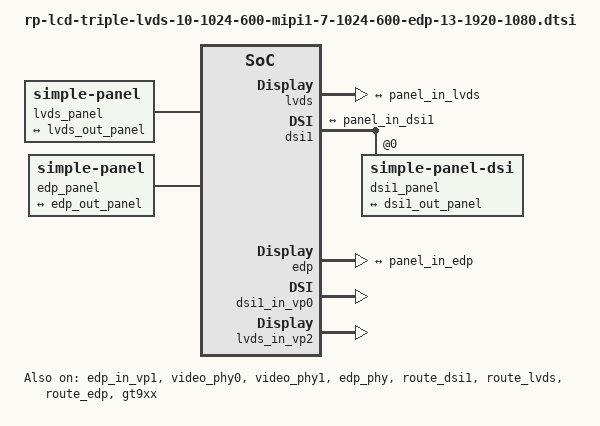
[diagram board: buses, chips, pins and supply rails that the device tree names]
#include <dt-bindings/display/media-bus-format.h>

#define RP_TRIPLE_LCD




&lvds_panel {
	status = "okay";
	compatible = "simple-panel";
	enable-delay-ms = <20>;
	prepare-delay-ms = <20>;
	unprepare-delay-ms = <20>;
	disable-delay-ms = <20>;
	bus-format = <MEDIA_BUS_FMT_RGB888_1X7X4_JEIDA>;
	width-mm = <217>;
	height-mm = <136>;
	
		/**
		 * power-supply = <>;
		 * reset-gpios = <>;
		 *
		 * lcd reset pin and power supply
		 * please refer to ***-lcd-gpio.dtsi
		 * that included in main dts.
		 */
		 
	display-timings {
		native-mode = <&timing2>;

		timing2: timing2 {
			clock-frequency = <45000000>;
			hactive = <1024>;
			vactive = <600>;
			hback-porch = <160>;
			hfront-porch = <160>;
			vback-porch = <23>;
			vfront-porch = <12>;
			hsync-len = <20>;
			vsync-len = <3>;
			hsync-active = <0>;
			vsync-active = <0>;
			de-active = <0>;
			pixelclk-active = <0>;
		};
	};

	ports {
		#address-cells = <1>;
		#size-cells = <0>;

		port@0 {
			reg = <0>;
			dual-lvds-even-pixels;
			panel_in_lvds: endpoint {
				remote-endpoint = <&lvds_out_panel>;
			};
		};
	};
};


&lvds {
	status = "okay";

	ports {
		port@1 {
			reg = <1>;

			lvds_out_panel: endpoint {
				remote-endpoint = <&panel_in_lvds>;
			};
		};
	};
};


&dsi1 {
	status = "okay";
	//rockchip,lane-rate = <480>;
	dsi1_panel: panel@0 {
		status = "okay";
		compatible = "simple-panel-dsi";
		reg = <0>;
		reset-delay-ms = <60>;
		enable-delay-ms = <60>;
		prepare-delay-ms = <60>;
		unprepare-delay-ms = <60>;
		disable-delay-ms = <60>;
		dsi,flags = <(MIPI_DSI_MODE_VIDEO | MIPI_DSI_MODE_VIDEO_BURST |
			MIPI_DSI_MODE_LPM | MIPI_DSI_MODE_EOT_PACKET)>;
		dsi,format = <MIPI_DSI_FMT_RGB888>;
		dsi,lanes  = <4>;
		
		/**
		 * power-supply = <>;
		 * reset-gpios = <>;
		 *
		 * lcd reset pin and power supply
		 * please refer to ***-lcd-gpio.dtsi
		 * that included in main dts.
		 */
				
		panel-init-sequence = [
			05 78 01 11
			05 78 01 29
		];
		
		panel-exit-sequence = [
			05 00 01 28
			05 78 01 10
		];

		disp_timings1: display-timings {
			native-mode = <&dsi1_timing0>;
			dsi1_timing0: timing0 {
				clock-frequency = <45000000>;
				hactive = <1024>;
				vactive = <600>;
				hback-porch = <160>;
				hfront-porch = <136>;
				vback-porch = <16>;
				vfront-porch = <16>;
				hsync-len = <4>;
				vsync-len = <2>;
				hsync-active = <0>;
				vsync-active = <0>;
				de-active = <0>;
				pixelclk-active = <1>;
			};
		};

		ports {
			#address-cells = <1>;
			#size-cells = <0>;

			port@0 {
				reg = <0>;
				panel_in_dsi1: endpoint {
					remote-endpoint = <&dsi1_out_panel>;
				};
			};
		};
	};

	ports {
		#address-cells = <1>;
		#size-cells = <0>;

		port@1 {
			reg = <1>;
			dsi1_out_panel: endpoint {
				remote-endpoint = <&panel_in_dsi1>;
			};
		};
	};
};




&edp_panel {
	status = "okay";
        compatible = "simple-panel";
        prepare-delay-ms = <20>;
        enable-delay-ms = <20>;
	disable-delay-ms = <20>;
	unprepare-delay-ms = <20>;
		
		/**
		 * power-supply = <>;
		 * reset-gpios = <>;
		 *
		 * lcd reset pin and power supply
		 * please refer to ***-lcd-gpio.dtsi
		 * that included in main dts.
		 */
		
        display-timings {
                native-mode = <&timing1>;

                timing0: timing0 {//EDP 13.3
                        clock-frequency = <150000000>;
                        hactive = <1920>;
                        vactive = <1080>;
                        hfront-porch = <12>;
                        hsync-len = <16>;
                        hback-porch = <48>;
                        vfront-porch = <8>;
                        vsync-len = <4>;
                        vback-porch = <8>;
                        hsync-active = <0>;
                        vsync-active = <0>;
                        de-active = <0>;
                        pixelclk-active = <0>;
                };

                timing1: timing1 {// EDP 15.6   LP156WF6
                        clock-frequency = <138000000>;
                        hactive = <1920>;
                        vactive = <1080>;
                        hfront-porch = <48>;
                        hsync-len = <32>;
                        hback-porch = <80>;
                        vfront-porch = <3>;
                        vsync-len = <5>;
                        vback-porch = <23>;
                        hsync-active = <0>;
                        vsync-active = <0>;
                        de-active = <0>;
                        pixelclk-active = <0>;
                };
        };

        ports {
                	panel_in_edp: endpoint {
                        	remote-endpoint = <&edp_out_panel>;
			};
	};
};


&edp {
	//hpd-gpios = <&gpio0 RK_PC2 GPIO_ACTIVE_HIGH>;
	status = "okay";
	force-hpd;
        ports {
                port@1 {
                        reg = <1>;

                        edp_out_panel: endpoint {
                                remote-endpoint = <&panel_in_edp>;
                        };
                };
        };
};


&dsi0_in_vp0 {
	status = "disabled";
};

&dsi0_in_vp1 {
	status = "disabled";
};



&dsi1_in_vp0 {
	status = "okay";
};

&dsi1_in_vp1 {
	status = "disabled";
};



&lvds_in_vp1 {
	status = "disabled";
};

&lvds_in_vp2 {
	status = "okay";
};



&edp_in_vp0 {
	status = "disabled";
};

&edp_in_vp1 {
	status = "okay";
};



&video_phy0 {
	status = "okay";
};

&video_phy1 {
	status = "okay";
};


&edp_phy {
	status = "okay";
};



&route_dsi1 {
	status = "okay";
	connect = <&vp0_out_dsi1>;
};

&route_lvds {
	status = "okay";
	connect = <&vp2_out_lvds>;
};

&route_edp {
	status = "okay";
	connect = <&vp1_out_edp>;
};

&gt9xx {
        status = "okay";

        compatible = "goodix,gt9xx";
        reg = <0x5d>;
        gtp_resolution_x = <1024>;
        gtp_resolution_y = <600>;
        gtp_int_tarigger = <1>;
        gtp_change_x2y = <0>;
        gtp_overturn_x = <0>;
        gtp_overturn_y = <0>;
        gtp_send_cfg = <1>;
        gtp_touch_wakeup = <1>;

		/**
		 * goodix_rst_gpio = <>;
		 * goodix_irq_gpio = <>;
		 *
		 * touch panel interrupt and reset pin
		 * please refer to ***-lcd-gpio.dtsi
		 * that included in main dts.
		 */

        goodix,cfg-group0 = [
            46 00 04 58 02 0A 3D 00 01 08
            28 05 50 32 03 05 00 00 00 00
            00 00 00 18 1A 1E 14 8D 2D 88
            17 15 31 0D 00 00 01 9B 03 1D
            00 00 00 00 00 00 00 00 00 00
            00 1E 5A 94 C5 02 08 00 00 00
            61 21 00 57 29 00 4E 34 00 48
            41 00 43 51 00 43 00 00 00 00
            00 00 00 00 00 00 00 00 00 00
            00 00 00 00 00 00 00 00 00 00
            00 00 00 00 00 00 00 00 00 00
            00 00 00 01 04 05 06 07 08 09
            0C 0D 0E 0F 10 11 14 15 FF FF
            FF FF 00 00 00 00 00 00 00 00
            00 00 00 02 04 06 07 08 0A 0C
            0F 10 11 12 13 19 1B 1C 1E 1F
            20 21 22 23 24 25 26 27 FF FF
            FF FF FF FF 00 00 00 00 00 00
            00 00 00 00 FD 01];
        goodix,cfg-group3 = [
            46 00 04 58 02 0A 3D 00 01 08
            28 05 50 32 03 05 00 00 00 00
            00 00 00 18 1A 1E 14 8D 2D 88
            17 15 31 0D 00 00 01 9B 03 1D
            00 00 00 00 00 00 00 00 00 00
            00 1E 5A 94 C5 02 08 00 00 00
            61 21 00 57 29 00 4E 34 00 48
            41 00 43 51 00 43 00 00 00 00
            00 00 00 00 00 00 00 00 00 00
            00 00 00 00 00 00 00 00 00 00
            00 00 00 00 00 00 00 00 00 00
            00 00 00 01 04 05 06 07 08 09
            0C 0D 0E 0F 10 11 14 15 FF FF
            FF FF 00 00 00 00 00 00 00 00
            00 00 00 02 04 06 07 08 0A 0C
            0F 10 11 12 13 19 1B 1C 1E 1F
            20 21 22 23 24 25 26 27 FF FF
            FF FF FF FF 00 00 00 00 00 00
            00 00 00 00 FD 01];

};



